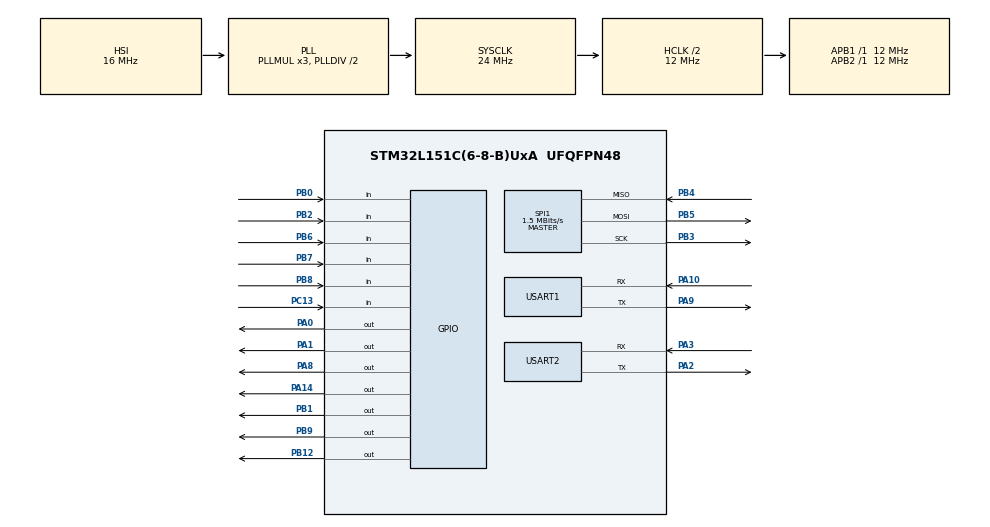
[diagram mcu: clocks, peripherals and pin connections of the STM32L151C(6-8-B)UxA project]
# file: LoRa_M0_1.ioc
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Mcu.Family=STM32L1
Mcu.Name=STM32L151C(6-8-B)UxA
Mcu.Package=UFQFPN48
NVIC.PriorityGroup=NVIC_PRIORITYGROUP_4
NVIC.USART2_IRQn=true\:0\:0\:false\:false\:true\:true\:true
PA0-WKUP1.PinState=GPIO_PIN_SET
PA0-WKUP1.Signal=GPIO_Output
PA1.PinState=GPIO_PIN_SET
PA1.Signal=GPIO_Output
PA10.Mode=Asynchronous
PA10.Signal=USART1_RX
PA14.PinState=GPIO_PIN_SET
PA14.Signal=GPIO_Output
PA15.Signal=SPI1_NSS
PA2.Mode=Asynchronous
PA2.Signal=USART2_TX
PA3.Mode=Asynchronous
PA3.Signal=USART2_RX
PA8.Signal=GPIO_Output
PA9.Mode=Asynchronous
PA9.Signal=USART1_TX
PB0.Signal=GPIO_Input
PB1.Signal=GPIO_Output
PB12.PinState=GPIO_PIN_SET
PB12.Signal=GPIO_Output
PB2.Signal=GPIO_Input
PB3.Mode=Full_Duplex_Master
PB3.Signal=SPI1_SCK
PB4.Mode=Full_Duplex_Master
PB4.Signal=SPI1_MISO
PB5.Mode=Full_Duplex_Master
PB5.Signal=SPI1_MOSI
PB6.Signal=GPIO_Input
PB7.Signal=GPIO_Input
PB8.Signal=GPIO_Input
PB9.PinState=GPIO_PIN_SET
PB9.Signal=GPIO_Output
PC13-WKUP2.Signal=GPIO_Input
ProjectManager.HeapSize=0x200
ProjectManager.StackSize=0x400
ProjectManager.TargetToolchain=EWARM V8
RCC.AHBCLKDivider=RCC_SYSCLK_DIV2
RCC.AHBFreq_Value=12000000
RCC.APB1Freq_Value=12000000
RCC.APB1TimFreq_Value=12000000
RCC.APB2Freq_Value=12000000
RCC.APB2TimFreq_Value=12000000
RCC.HCLKFreq_Value=12000000
RCC.HSE_VALUE=24000000
RCC.HSI_VALUE=16000000
RCC.LSE_VALUE=32768
RCC.MSI_VALUE=2097000
RCC.SYSCLKFreq_VALUE=24000000
RCC.SYSCLKSource=RCC_SYSCLKSOURCE_PLLCLK
RCC.VCOOutputFreq_Value=48000000
SPI1.BaudRatePrescaler=SPI_BAUDRATEPRESCALER_8
SPI1.CalculateBaudRate=1.5 MBits/s
SPI1.Direction=SPI_DIRECTION_2LINES
SPI1.Mode=SPI_MODE_MASTER
SPI1.VirtualType=VM_MASTER
USART1.VirtualMode=VM_ASYNC
USART2.VirtualMode=VM_ASYNC
board=custom

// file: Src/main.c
/* USER CODE BEGIN Header */
/**
  ******************************************************************************
  * @file           : main.c
  * @brief          : Main program body
  ******************************************************************************
  * @attention
  *
  * <h2><center>&copy; Copyright (c) 2019 STMicroelectronics.
  * All rights reserved.</center></h2>
  *
  * This software component is licensed by ST under BSD 3-Clause license,
  * the "License"; You may not use this file except in compliance with the
  * License. You may obtain a copy of the License at:
  *                        opensource.org/licenses/BSD-3-Clause
  *
  ******************************************************************************
  */
/* USER CODE END Header */

#include "main.h"
#include "spi.h"
#include "usart.h"
#include "gpio.h"
#include <stdio.h>
#include <string.h>

/* USER CODE BEGIN Includes */

//sx1278
#include "radio.h"
#include "platform.h"
#include "sx1276-Hal.h"
#include "sx1276-LoRa.h"
#include "sx1276-LoRaMisc.h"
/* USER CODE END Includes */

/* USER CODE BEGIN PD */
#define BUFFERSIZE 1

/* USER CODE END PD */

/* USER CODE BEGIN PV */
tRadioDriver *Radio = NULL;
uint16_t BufferSize = BUFFERSIZE;
uint8_t Buffer[BUFFERSIZE] = {0};
uint8_t BufferByte = 0;
uint16_t Data_TX_Count = 0;
uint16_t Data_RX_Count = 0;

uint8_t Cmd1[] = "1";
uint8_t Cmd1_R[] = "2";

/* USER CODE END PV */

void SystemClock_Config(void);

/* USER CODE BEGIN PFP */

void LED_R(void);//PA0
void LED_G(void);//PA1
void LED_B(void);//PB12
void LED_POWER(void);//PA14
void Task(void);

/* USER CODE END PFP */

int main(void)
{
  /* USER CODE BEGIN 1 */

  uint8_t RegVersion = 0;
  /* USER CODE END 1 */

  /* MCU Configuration--------------------------------------------------------*/

  /* Reset of all peripherals, Initializes the Flash interface and the Systick. */
  HAL_Init();

  /* Configure the system clock */
  SystemClock_Config();

  /* Initialize all configured peripherals */
  MX_GPIO_Init();
  MX_SPI1_Init();
  MX_USART1_UART_Init();
  MX_USART2_UART_Init();

  /* USER CODE BEGIN 2 */
  LED_POWER();

  SX1276Read( REG_LR_VERSION, &RegVersion );
  if(RegVersion == 0x12)
  {
    printf("LoRa read OK\r\n");
    printf("LoRa RegVersion = %d\r\n", RegVersion);
  }
  else
  {
    printf("LoRa read ERROR\r\n");
    printf("LoRa RegVersion = %d\r\n", RegVersion);
  }

  Radio = RadioDriverInit();
  Radio->Init();

	printf("%d%d%d%d\r\n", RF_IDLE, RF_BUSY, RF_RX_DONE, RF_TX_DONE);

  /* USER CODE END 2 */
#ifdef MASTER
	Radio->SetTxPacket(Cmd1, 1);
	printf("MASTER发出:%d\r\n", Cmd1[0]);
	HAL_Delay(200);
#else
	Radio->StartRx();
	printf("SLAVE 等待接受数据\r\n");
#endif
  /* Infinite loop */
  while (1)
  {

    Task();
    HAL_Delay(200);
		//需要将各个延时时长设定为相同值，保证一个在发，一个在收？？不对啊，发送只是一瞬间的事啊。。。
		//什么意思？？？具体是个怎样的过程啊？？？？

  }
}

void Task(void)//收到之后返回收到的数字+1
{
//  printf("进入Task Radio->Process():%d\r\n", Radio->Process());
  switch(Radio->Process())
  {
		case RF_RX_DONE :
      Radio->GetRxPacket(Buffer, &BufferSize);
      LED_B();
      Data_RX_Count++;
      printf("第%d次接收到的数据为：%d\r\n", Data_RX_Count, Buffer[0]);
//			Cmd1[0] = (Cmd1[0] + 1) % 256;
			Buffer[0] = (Buffer[0] + 1) % 256;
			Radio->SetTxPacket(Buffer, 1);
			HAL_Delay(200);
    break;

    case RF_TX_DONE :
			LED_R();
			Data_TX_Count++;
			Radio->StartRx();
			//HAL_Delay(200);
			//转入接收模式后，不要再进行其他操作了，比如延时；要全身心的投入到检测外部信号状态
    break;

		default:
      //printf("失败：Radio->Process():%d\r\n", Radio->Process());
			//没事不要乱用Process
		break;
  }

}

void SystemClock_Config(void)
{
  RCC_OscInitTypeDef RCC_OscInitStruct = {0};
  RCC_ClkInitTypeDef RCC_ClkInitStruct = {0};

  /** Configure the main internal regulator output voltage
  */
  __HAL_PWR_VOLTAGESCALING_CONFIG(PWR_REGULATOR_VOLTAGE_SCALE1);
  /** Initializes the CPU, AHB and APB busses clocks
  */
  RCC_OscInitStruct.OscillatorType = RCC_OSCILLATORTYPE_HSI;
  RCC_OscInitStruct.HSIState = RCC_HSI_ON;
  RCC_OscInitStruct.HSICalibrationValue = RCC_HSICALIBRATION_DEFAULT;
  RCC_OscInitStruct.PLL.PLLState = RCC_PLL_ON;
  RCC_OscInitStruct.PLL.PLLSource = RCC_PLLSOURCE_HSI;
  RCC_OscInitStruct.PLL.PLLMUL = RCC_PLL_MUL3;
  RCC_OscInitStruct.PLL.PLLDIV = RCC_PLL_DIV2;
  if (HAL_RCC_OscConfig(&RCC_OscInitStruct) != HAL_OK)
  {
    Error_Handler();
  }
  /** Initializes the CPU, AHB and APB busses clocks
  */
  RCC_ClkInitStruct.ClockType = RCC_CLOCKTYPE_HCLK|RCC_CLOCKTYPE_SYSCLK
                              |RCC_CLOCKTYPE_PCLK1|RCC_CLOCKTYPE_PCLK2;
  RCC_ClkInitStruct.SYSCLKSource = RCC_SYSCLKSOURCE_PLLCLK;
  RCC_ClkInitStruct.AHBCLKDivider = RCC_SYSCLK_DIV2;
  RCC_ClkInitStruct.APB1CLKDivider = RCC_HCLK_DIV1;
  RCC_ClkInitStruct.APB2CLKDivider = RCC_HCLK_DIV1;

  if (HAL_RCC_ClockConfig(&RCC_ClkInitStruct, FLASH_LATENCY_0) != HAL_OK)
  {
    Error_Handler();
  }
}

void Error_Handler(void)
{
}

void LED_R(void)//PA0
{
  HAL_GPIO_WritePin( GPIOA, GPIO_PIN_0, GPIO_PIN_RESET );
  HAL_GPIO_WritePin( GPIOA, GPIO_PIN_1, GPIO_PIN_SET );
  HAL_GPIO_WritePin( GPIOB, GPIO_PIN_12, GPIO_PIN_SET );
}

void LED_G(void)//PA1
{
  HAL_GPIO_WritePin( GPIOA, GPIO_PIN_0, GPIO_PIN_SET );
  HAL_GPIO_WritePin( GPIOA, GPIO_PIN_1, GPIO_PIN_RESET );
  HAL_GPIO_WritePin( GPIOB, GPIO_PIN_12, GPIO_PIN_SET );
}
void LED_B(void)//PB12
{
  HAL_GPIO_WritePin( GPIOA, GPIO_PIN_0, GPIO_PIN_SET );
  HAL_GPIO_WritePin( GPIOA, GPIO_PIN_1, GPIO_PIN_SET );
  HAL_GPIO_WritePin( GPIOB, GPIO_PIN_12, GPIO_PIN_RESET );
}
void LED_POWER(void)//PA14
{
  HAL_GPIO_WritePin( GPIOA, GPIO_PIN_14, GPIO_PIN_RESET );
}

//重定向串口
int fputc(int c, FILE *stream)
{
  while(!(USART1->SR & (1 << 7))){};//等待数据发送完成
  USART1->DR = c;//将c赋给串口1的DR寄存器，即重定向到串口，也可以是其他的接口
  return c;
}

/************************ (C) COPYRIGHT STMicroelectronics *****END OF FILE****/
